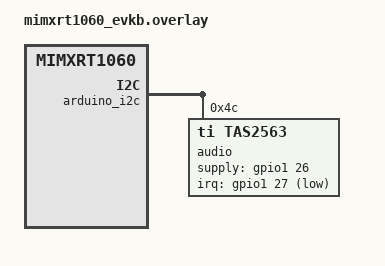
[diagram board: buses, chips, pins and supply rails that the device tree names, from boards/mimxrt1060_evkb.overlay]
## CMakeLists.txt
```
cmake_minimum_required(VERSION 3.20.0)
find_package(Zephyr REQUIRED HINTS $ENV{ZEPHYR_BASE})

project(audio)

target_sources(app PRIVATE src/main.c)
```

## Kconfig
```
# Copyright (c) 2023, ithinx GmbH
# Copyright (c) 2023, tonies GmbH
#
# SPDX-License-Identifier: Apache-2.0

source "Kconfig.zephyr"

config APP_AUDIO_SAMPLE_FREQ
    int "Audio sample frequency (Hz)"
    default 48000

config APP_AUDIO_NUM_CHANNELS
    int "Number of audio channels"
    default 4

config APP_AUDIO_SAMPLES
    int "Number of audio samples"
    default 64

config APP_AUDIO_SAMPLE_BIT_WIDTH
    int "Audio sample bit width (bits)"
    default 16

config APP_I2S_PLAY_BUF_COUNT
    int "Number of I2S playback buffers"
    default 20

config APP_I2S_TX_PRELOAD_BUF_COUNT
    int "Number of I2S buffers preloaded with silence"
    default 2

module = APP
module-str = Application
source "subsys/logging/Kconfig.template.log_config"
```

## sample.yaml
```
---
sample:
  name: Speaker sample
tests:
  sample.drivers.audio.speaker:
    tags: speaker
    platform_allow:
      - mimxrt1060_evkb
    integration_platforms:
      - mimxrt1060_evkb
    harness: console
    harness_config:
      fixture: tas2x63evm
      type: multi_line
      ordered: true
      regex:
        - "i2s_sample: Starting I2S audio sample app ..."
        - "i2s_sample: Stream with 478208 bytes started"
        - "i2s_sample: Exiting I2S audio sample app ..."
```

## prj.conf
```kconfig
CONFIG_LOG=y
CONFIG_AUDIO=y
CONFIG_AUDIO_CODEC=y
CONFIG_DMA=y
CONFIG_GPIO=y
CONFIG_I2C=y
CONFIG_I2S=y

CONFIG_AUDIO_CODEC_LOG_LEVEL_WRN=y
CONFIG_APP_LOG_LEVEL_INF=y
CONFIG_I2C_LOG_LEVEL_WRN=y
CONFIG_I2S_LOG_LEVEL_WRN=y
CONFIG_DMA_LOG_LEVEL_WRN=y
CONFIG_SOC_LOG_LEVEL_WRN=y
```

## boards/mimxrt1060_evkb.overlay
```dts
/*
 * Copyright 2023 NXP
 *
 * SPDX-License-Identifier: Apache-2.0
 */

/ {
	aliases {
		speaker-i2s = &sai1;
		audio0 = &audio;
	};
};

&arduino_i2c {
	status = "okay";
	audio: tas2563@4c {
		compatible = "ti,tas2563";
		status = "okay";
		reg = <0x4C>;
		supply-gpios = <&gpio1 26 GPIO_ACTIVE_HIGH>;
		irq-gpios = <&gpio1 27 GPIO_ACTIVE_LOW>;
	};
};
```

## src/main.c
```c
/*
 * Copyright (c) 2023, ithinx GmbH
 * Copyright (c) 2023, tonies GmbH
 *
 * SPDX-License-Identifier: Apache-2.0
 */

#include <errno.h>
#include <stddef.h>
#include <stdint.h>
#include <string.h>
#include <zephyr/audio/codec.h>
#include <zephyr/drivers/i2s.h>
#include <zephyr/kernel.h>
#include <zephyr/logging/log.h>
#include <zephyr/logging/log_ctrl.h>
#include <zephyr/sys/util.h>

#include "audio_content.h"

#define LOG_LEVEL CONFIG_APP_LOG_LEVEL

LOG_MODULE_REGISTER(i2s_sample, LOG_LEVEL);

#define RETURN_ON_ERROR(func)                                                                      \
	do {                                                                                       \
		const int err = func;                                                              \
		if ((err) < 0) {                                                                   \
			while (log_process()) {                                                    \
			};                                                                         \
			return err;                                                                \
		}                                                                                  \
	} while (0)

#define AUDIO_FRAME_BUF_BYTES                                                                      \
	(2 /* channels */ * 2 /* bytes per sample */ * CONFIG_APP_AUDIO_SAMPLES)

/* NOTE With NXP RT SOCs the slab definition needs the `__nocache` keyword to be dma capable.
 * The usual definition with `K_MEM_SLAB_DEFINE_STATIC` does not work.
 * https://support.nxp.com/s/case/5002p00002xVeNzAAK/garbage-i2s-data-when-using-the-zephyr-sai-driver-in-tx-direction
 */
char __nocache __aligned(WB_UP(32))
	_k_mem_slab_buf_tx_0_mem_slab[(CONFIG_APP_I2S_PLAY_BUF_COUNT)*WB_UP(AUDIO_FRAME_BUF_BYTES)];

STRUCT_SECTION_ITERABLE(k_mem_slab,
			i2s_mem_slab) = Z_MEM_SLAB_INITIALIZER(i2s_mem_slab,
							       _k_mem_slab_buf_tx_0_mem_slab,
							       WB_UP(AUDIO_FRAME_BUF_BYTES),
							       CONFIG_APP_I2S_PLAY_BUF_COUNT);

static const struct device *spk_i2s_dev;
static const struct device *codec_device;
static const audio_property_value_t output_volume = {.vol = -10};

static int i2s_audio_init(void)
{
	int ret;
	struct i2s_config i2s_cfg;
	struct audio_codec_cfg codec_cfg;

	spk_i2s_dev = DEVICE_DT_GET(DT_ALIAS(speaker_i2s));
	codec_device = DEVICE_DT_GET(DT_ALIAS(audio0));

	if (!device_is_ready(spk_i2s_dev)) {
		LOG_ERR("I2S device %s not found", spk_i2s_dev->name);
		return -ENODEV;
	}

	if (!device_is_ready(codec_device)) {
		LOG_ERR("Codec device %s not found", codec_device->name);
		return -ENODEV;
	}

	/* configure i2s for audio playback */
	i2s_cfg.word_size = CONFIG_APP_AUDIO_SAMPLE_BIT_WIDTH;
	i2s_cfg.channels = CONFIG_APP_AUDIO_NUM_CHANNELS;
	i2s_cfg.format = I2S_FMT_DATA_FORMAT_I2S | I2S_FMT_CLK_NF_NB;
	i2s_cfg.options = I2S_OPT_FRAME_CLK_MASTER | I2S_OPT_BIT_CLK_MASTER;
	i2s_cfg.frame_clk_freq = CONFIG_APP_AUDIO_SAMPLE_FREQ;
	i2s_cfg.block_size = AUDIO_FRAME_BUF_BYTES;
	i2s_cfg.mem_slab = &i2s_mem_slab;

	i2s_cfg.timeout = 2000;
	ret = i2s_configure(spk_i2s_dev, I2S_DIR_TX, &i2s_cfg);
	if (ret != 0) {
		LOG_ERR("i2s_configure failed with %d error", ret);
		return -EIO;
	}

	/* configure codec */
	codec_cfg.dai_type = AUDIO_DAI_TYPE_I2S;
	codec_cfg.dai_cfg.i2s = i2s_cfg;

	RETURN_ON_ERROR(audio_codec_configure(codec_device, &codec_cfg));
	RETURN_ON_ERROR(audio_codec_set_property(codec_device, AUDIO_PROPERTY_OUTPUT_VOLUME,
						 AUDIO_CHANNEL_ALL, output_volume));

	return 0;
}

static int i2s_start_audio(void)
{
	int ret = 0;

	LOG_DBG("Starting audio playback...");
	/* start codec output */
	audio_codec_start_output(codec_device);

	/* start i2s */
	ret = i2s_trigger(spk_i2s_dev, I2S_DIR_TX, I2S_TRIGGER_START);
	if (ret) {
		LOG_ERR("spk_i2s_dev TX start failed. code %d", ret);
		return ret;
	}

	return 0;
}

static int i2s_prepare_audio()
{
	int ret = 0;
	uint8_t zeros[AUDIO_FRAME_BUF_BYTES] = {0};

	LOG_DBG("Preloading silence...");
	for (int frame_counter = 0; frame_counter < CONFIG_APP_I2S_TX_PRELOAD_BUF_COUNT;
	     ++frame_counter) {
		ret = i2s_buf_write(spk_i2s_dev, zeros, ARRAY_SIZE(zeros));
		if (ret) {
			LOG_ERR("i2s_write failed %d", ret);
			return ret;
		}
	}

	return 0;
}

static int i2s_play_audio(void)
{
	const uint8_t *const in_buf = audio_test_content;
	const size_t buflen = ARRAY_SIZE(audio_test_content);
	size_t bytes_to_transmit = 0;
	size_t bytes_transmitted = 0;
	int ret = 0;

	LOG_INF("Stream with %d bytes started", buflen);

	while (bytes_transmitted < buflen) {
		bytes_to_transmit = MIN(buflen - bytes_transmitted, AUDIO_FRAME_BUF_BYTES);

		LOG_DBG("Bytes to transmit: %d, total transmitted bytes: %d", bytes_to_transmit,
			bytes_transmitted);

		LOG_DBG("Remaining bytes=%d current byte=0x%02X", buflen - bytes_transmitted,
			in_buf[bytes_transmitted]);

		ret = i2s_buf_write(spk_i2s_dev, (void *)&in_buf[bytes_transmitted],
				    bytes_to_transmit);
		if (ret < 0) {
			LOG_ERR("i2s_write failed %d", ret);
			return ret;
		}

		bytes_transmitted += bytes_to_transmit;
	}

	LOG_DBG("Reached end of playback after %d bytes and current data pointer at %p",
		bytes_transmitted, (void *)&in_buf[bytes_transmitted]);

	if (bytes_transmitted < buflen) {
		LOG_ERR("Playback incomplete: %d", bytes_transmitted);
		return -EIO;
	}

	return ret;
}

static int i2s_stop_audio(void)
{
	int ret;

	ret = i2s_trigger(spk_i2s_dev, I2S_DIR_TX, I2S_TRIGGER_STOP);
	if (ret) {
		LOG_ERR("spk_i2s_dev stop failed with code %d", ret);
		return ret;
	}

	LOG_DBG("Stopping audio playback...");

	return 0;
}

int main(void)
{
	LOG_INF("Starting I2S audio sample app ...");
	RETURN_ON_ERROR(i2s_audio_init());
	RETURN_ON_ERROR(i2s_prepare_audio());
	RETURN_ON_ERROR(i2s_start_audio());
	RETURN_ON_ERROR(i2s_play_audio());
	RETURN_ON_ERROR(i2s_stop_audio());
	LOG_INF("Exiting I2S audio sample app ...");

	return 0;
}
```
